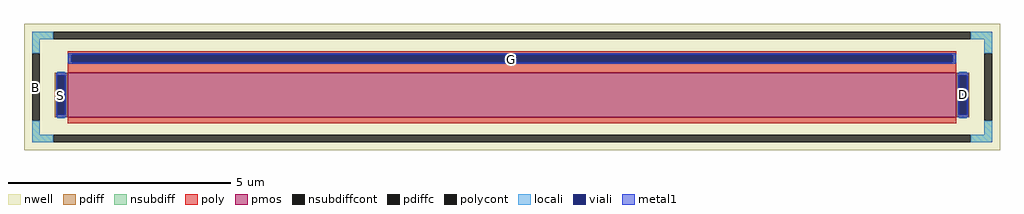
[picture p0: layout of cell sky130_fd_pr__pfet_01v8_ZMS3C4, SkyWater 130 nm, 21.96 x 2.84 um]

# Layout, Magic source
magic
tech sky130A
magscale 1 2
<< nwell >>
rect -2196 -284 2196 284
<< pmos >>
rect -2000 -136 2000 64
<< pdiff >>
rect -2058 52 -2000 64
rect -2058 -124 -2046 52
rect -2012 -124 -2000 52
rect -2058 -136 -2000 -124
rect 2000 52 2058 64
rect 2000 -124 2012 52
rect 2046 -124 2058 52
rect 2000 -136 2058 -124
<< pdiffc >>
rect -2046 -124 -2012 52
rect 2012 -124 2046 52
<< nsubdiff >>
rect -2160 214 -2064 248
rect 2064 214 2160 248
rect -2160 151 -2126 214
rect 2126 151 2160 214
rect -2160 -214 -2126 -151
rect 2126 -214 2160 -151
rect -2160 -248 -2064 -214
rect 2064 -248 2160 -214
<< nsubdiffcont >>
rect -2064 214 2064 248
rect -2160 -151 -2126 151
rect 2126 -151 2160 151
rect -2064 -248 2064 -214
<< poly >>
rect -2000 145 2000 161
rect -2000 111 -1984 145
rect 1984 111 2000 145
rect -2000 64 2000 111
rect -2000 -162 2000 -136
<< polycont >>
rect -1984 111 1984 145
<< locali >>
rect -2160 214 -2064 248
rect 2064 214 2160 248
rect -2160 151 -2126 214
rect 2126 151 2160 214
rect -2000 111 -1984 145
rect 1984 111 2000 145
rect -2046 52 -2012 68
rect -2046 -140 -2012 -124
rect 2012 52 2046 68
rect 2012 -140 2046 -124
rect -2160 -214 -2126 -151
rect 2126 -214 2160 -151
rect -2160 -248 -2064 -214
rect 2064 -248 2160 -214
<< viali >>
rect -1984 111 1984 145
rect -2046 -124 -2012 52
rect 2012 -124 2046 52
<< metal1 >>
rect -1996 145 1996 151
rect -1996 111 -1984 145
rect 1984 111 1996 145
rect -1996 105 1996 111
rect -2052 52 -2006 64
rect -2052 -124 -2046 52
rect -2012 -124 -2006 52
rect -2052 -136 -2006 -124
rect 2006 52 2052 64
rect 2006 -124 2012 52
rect 2046 -124 2052 52
rect 2006 -136 2052 -124
<< labels >>
flabel metal1 s -3 126 -3 126 0 FreeSans 480 0 0 0 G
port 24 nsew
flabel metal1 s -2030 -37 -2030 -37 0 FreeSans 480 0 0 0 S
port 25 nsew
flabel metal1 s 2031 -34 2031 -34 0 FreeSans 480 0 0 0 D
port 26 nsew
flabel locali s -2145 -4 -2145 -4 0 FreeSans 480 0 0 0 B
port 27 nsew
<< properties >>
string FIXED_BBOX -2143 -231 2143 231
string gencell sky130_fd_pr__pfet_01v8
string library sky130
string parameters w 1.0 l 20.0 m 1 nf 1 diffcov 100 polycov 100 guard 1 glc 1 grc 1 gtc 1 gbc 1 tbcov 100 rlcov 100 topc 1 botc 0 poverlap 0 doverlap 1 lmin 0.15 wmin 0.42 compatible {sky130_fd_pr__pfet_01v8  sky130_fd_pr__pfet_01v8_lvt sky130_fd_pr__pfet_01v8_hvt  sky130_fd_pr__pfet_g5v0d10v5} full_metal 1 viasrc 100 viadrn 100 viagate 100 viagb 0 viagr 0 viagl 0 viagt 0
<< end >>
